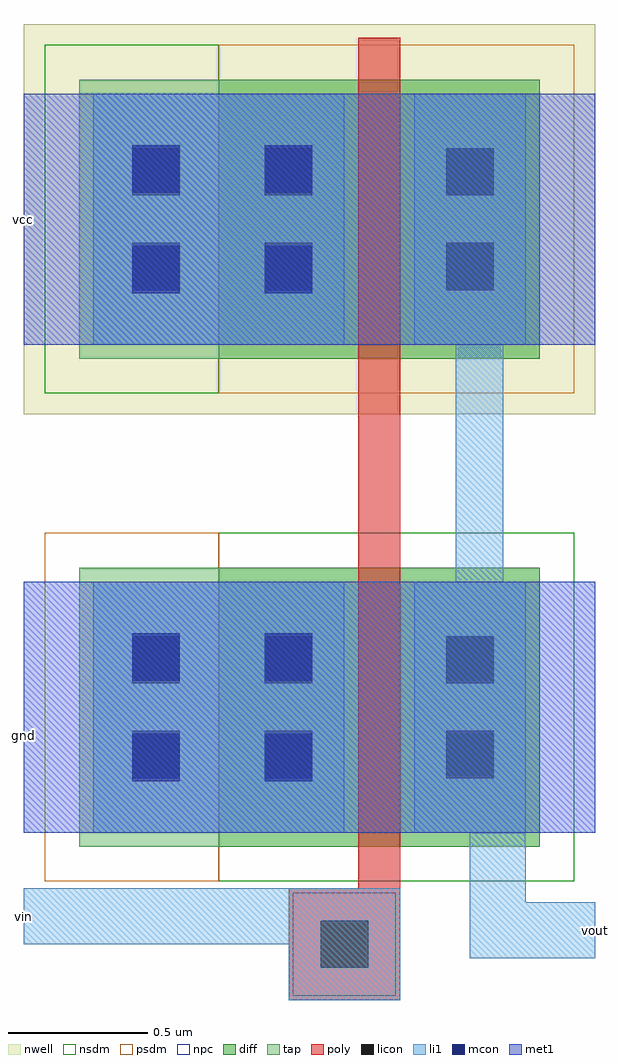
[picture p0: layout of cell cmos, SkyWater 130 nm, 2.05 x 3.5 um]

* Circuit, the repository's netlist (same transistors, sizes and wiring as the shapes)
* SPICE3 file created from cmos.ext - technology: sky130A

.subckt cmos VIN VOUT VP VN
X0 VOUT VIN VN VN sky130_fd_pr__nfet_01v8 ad=0.5 pd=3 as=0.5 ps=3 w=1 l=0.15
X1 VOUT VIN VP VP sky130_fd_pr__pfet_01v8 ad=0.5 pd=3 as=0.5 ps=3 w=1 l=0.15
.ends

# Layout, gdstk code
import gdstk
lib = gdstk.Library(unit=1e-6, precision=1e-09)
def R(c, l, rs):  # rectangles x0, y0, x1, y1
    for r in rs: c.add(gdstk.rectangle(r[:2], r[2:], *l))
nwell = (64, 20)
diff = (65, 20)
tap = (65, 44)
poly = (66, 20)
licon = (66, 44)
li1 = (67, 20)
mcon = (67, 44)
met1 = (68, 20)
nsdm = (93, 44)
psdm = (94, 20)
npc = (95, 20)

cmos = lib.new_cell('cmos')
R(cmos, nwell, [(-1.15,1.8,0.9,3.2)])
R(cmos, diff, [(-0.45,0.25,0.7,1.25), (-0.45,2,0.7,3)])
R(cmos, tap, [(-0.95,0.25,-0.45,1.25), (-0.95,2,-0.45,3)])
R(cmos, poly, [(-0.2,-0.3,0.2,0.1), (0.05,0.1,0.2,3.15)])
R(cmos, licon, [(-0.085,-0.185,0.085,-0.015), (-0.76,0.495,-0.59,0.665), (-0.285,0.495,-0.115,0.665), (0.365,0.495,0.535,0.665), (-0.76,0.835,-0.59,1.005), (-0.285,0.835,-0.115,1.005), (0.365,0.835,0.535,1.005), (-0.76,2.245,-0.59,2.415), (-0.285,2.245,-0.115,2.415), (0.365,2.245,0.535,2.415), (-0.76,2.585,-0.59,2.755), (-0.285,2.585,-0.115,2.755), (0.365,2.585,0.535,2.755)])
R(cmos, li1, [(-0.2,-0.3,0.2,-0.1), (0.45,-0.15,0.9,0.05), (-1.15,-0.1,0.2,0.1), (0.45,0.05,0.65,0.3), (-0.9,0.3,0,1.2), (0.25,0.3,0.65,1.2), (0.4,1.2,0.57,2.05), (-0.9,2.05,0,2.95), (0.25,2.05,0.65,2.95)])
R(cmos, mcon, [(-0.76,0.485,-0.59,0.655), (-0.285,0.485,-0.115,0.655), (-0.76,0.845,-0.59,1.015), (-0.285,0.845,-0.115,1.015), (-0.76,2.235,-0.59,2.405), (-0.285,2.235,-0.115,2.405), (-0.76,2.595,-0.59,2.765), (-0.285,2.595,-0.115,2.765)])
R(cmos, met1, [(-1.15,0.3,0.9,1.2), (-1.15,2.05,0.9,2.95)])
R(cmos, nsdm, [(-0.45,0.125,0.825,1.375), (-1.075,1.875,-0.45,3.125)])
R(cmos, psdm, [(-1.075,0.125,-0.45,1.375), (-0.45,1.875,0.825,3.125)])
R(cmos, npc, [(-0.185,-0.285,0.185,0.085)])
cmos.add(gdstk.Label('vin', (-1.15,0), layer=67, texttype=5))
cmos.add(gdstk.Label('vout', (0.9,-0.05), layer=67, texttype=5))
cmos.add(gdstk.Label('vcc', (-1.15,2.5), layer=68, texttype=5))
cmos.add(gdstk.Label('gnd', (-1.15,0.65), layer=68, texttype=5))

lib.write_gds('cmos.gds')
